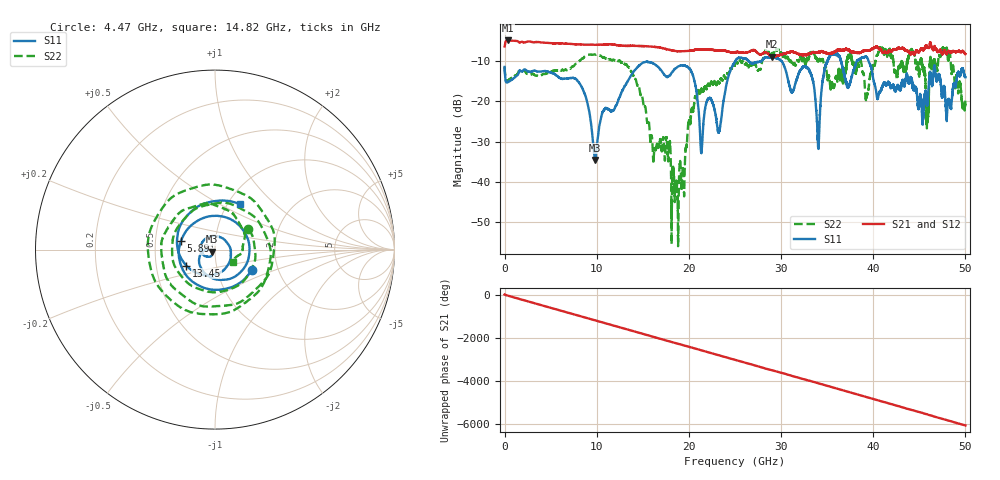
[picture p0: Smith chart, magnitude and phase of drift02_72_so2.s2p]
!Created with skrf (http://scikit-rf.org).
# Hz S RI R 50.0
!freq ReS11 ImS11 ReS21 ImS21 ReS12 ImS12 ReS22 ImS22
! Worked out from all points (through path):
!   10001 points, 300 kHz to 50 GHz, reference 50 ohm
!   highest |S21| = -5.04 dB at 325.3 MHz (marker M1); lowest = -9.0 dB at 29.05 GHz (marker M2)
!   group delay of S21, straight-line fit = 336 ps
!   lowest |S11| = -34.5 dB at 9.84 GHz (marker M3), VSWR 1.04, Z = 48.5 - j1.04 ohm
!   |S11| at or under -10 dB: start of sweep to 25.08 GHz; 29.98 GHz to 35.05 GHz (5.068 GHz wide, 15.6 % of centre); 39.48 GHz to end of sweep (the widest 3 of 6)
!   |S22| runs from -55.8 to -6.7 dB; largest |S21 - S12| = 0.022
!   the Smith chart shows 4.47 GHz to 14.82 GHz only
!   S11 on the Smith chart (normalised r, x): 4.47 GHz: 1.46, -0.35; 5.89 GHz: 0.68, +0.07; 13.45 GHz: 0.71, -0.13; 14.82 GHz: 1.13, +0.63
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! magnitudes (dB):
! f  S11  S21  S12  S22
! 300 kHz  -11.6  -6.5  -6.4  -11.6
! 325.3 MHz  -15.4  -5.0  -5.0  -15.0
! 4.47 GHz  -12.6  -5.6  -5.6  -13.3
! 5.89 GHz  -14.2  -5.7  -5.7  -12.5
! 8.335 GHz  -16.5  -6.0  -6.0  -9.6
! 9.84 GHz  -34.5  -6.1  -6.1  -8.5
! 13.45 GHz  -14.8  -6.4  -6.4  -11.6
! 14.82 GHz  -10.8  -6.4  -6.4  -18.5
! 16.67 GHz  -11.6  -6.7  -6.7  -31.2
! 18.66 GHz  -11.8  -7.7  -7.7  -40.0
! 20.37 GHz  -13.3  -7.5  -7.5  -21.9
! 21.37 GHz  -32.1  -7.2  -7.2  -17.0
! 23.31 GHz  -27.3  -7.5  -7.6  -15.6
! 25 GHz  -10.3  -7.9  -8.0  -11.2
! 29.05 GHz  -9.1  -9.0  -9.0  -8.2
! 33.34 GHz  -14.0  -8.0  -8.1  -8.1
! 34.02 GHz  -31.2  -7.9  -7.9  -10.3
! 35.52 GHz  -8.4  -8.2  -8.1  -15.4
! 41.67 GHz  -15.3  -7.7  -7.7  -7.5
! 45.85 GHz  -20.9  -6.6  -6.7  -20.6
! 47.77 GHz  -17.9  -7.6  -7.6  -7.4
! 50 GHz  -14.1  -8.4  -8.5  -19.8
